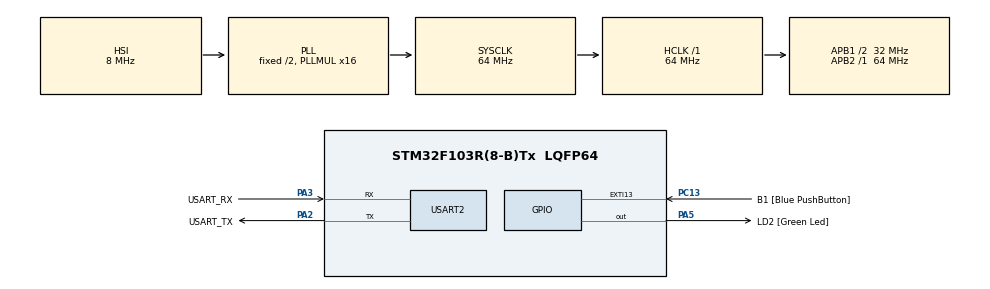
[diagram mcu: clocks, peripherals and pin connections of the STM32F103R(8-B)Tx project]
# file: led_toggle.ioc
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Mcu.Family=STM32F1
Mcu.Name=STM32F103R(8-B)Tx
Mcu.Package=LQFP64
NVIC.EXTI15_10_IRQn=true\:0\:0\:false\:false\:true\:true\:true\:true
NVIC.PriorityGroup=NVIC_PRIORITYGROUP_4
NVIC.USART2_IRQn=true\:0\:0\:false\:false\:true\:true\:true\:true
PA13.GPIO_Label=TMS
PA13.Mode=Serial_Wire
PA13.Signal=SYS_JTMS-SWDIO
PA14.GPIO_Label=TCK
PA14.Mode=Serial_Wire
PA14.Signal=SYS_JTCK-SWCLK
PA2.GPIO_Label=USART_TX
PA2.GPIO_Mode=GPIO_MODE_AF_PP
PA2.GPIO_PuPd=GPIO_NOPULL
PA2.GPIO_Speed=GPIO_SPEED_FREQ_LOW
PA2.Mode=Asynchronous
PA2.Signal=USART2_TX
PA3.GPIO_Label=USART_RX
PA3.GPIO_Mode=GPIO_MODE_AF_PP
PA3.GPIO_PuPd=GPIO_NOPULL
PA3.GPIO_Speed=GPIO_SPEED_FREQ_LOW
PA3.Mode=Asynchronous
PA3.Signal=USART2_RX
PA5.GPIO_Label=LD2 [Green Led]
PA5.GPIO_ModeDefaultOutputPP=GPIO_MODE_OUTPUT_PP
PA5.GPIO_PuPd=GPIO_NOPULL
PA5.GPIO_Speed=GPIO_SPEED_FREQ_LOW
PA5.Signal=GPIO_Output
PB3.GPIO_Label=SWO
PB3.Signal=SYS_JTDO-TRACESWO
PC13-TAMPER-RTC.GPIO_Label=B1 [Blue PushButton]
PC13-TAMPER-RTC.GPIO_PuPd=GPIO_NOPULL
PC13-TAMPER-RTC.Signal=GPXTI13
PC14-OSC32_IN.Mode=LSE-External-Oscillator
PC14-OSC32_IN.Signal=RCC_OSC32_IN
PC15-OSC32_OUT.Mode=LSE-External-Oscillator
PC15-OSC32_OUT.Signal=RCC_OSC32_OUT
PD0-OSC_IN.Mode=HSE-External-Clock-Source
PD0-OSC_IN.Signal=RCC_OSC_IN
PD1-OSC_OUT.Mode=HSE-External-Clock-Source
PD1-OSC_OUT.Signal=RCC_OSC_OUT
ProjectManager.HeapSize=0x200
ProjectManager.StackSize=0x400
ProjectManager.TargetToolchain=STM32CubeIDE
RCC.AHBFreq_Value=64000000
RCC.APB1CLKDivider=RCC_HCLK_DIV2
RCC.APB1Freq_Value=32000000
RCC.APB1TimFreq_Value=64000000
RCC.APB2Freq_Value=64000000
RCC.APB2TimFreq_Value=64000000
RCC.HCLKFreq_Value=64000000
RCC.PLLMUL=RCC_PLL_MUL16
RCC.RTCClockSelection=RCC_RTCCLKSOURCE_LSE
RCC.SYSCLKFreq_VALUE=64000000
RCC.SYSCLKSource=RCC_SYSCLKSOURCE_PLLCLK
RCC.USBFreq_Value=64000000
USART2.VirtualMode=VM_ASYNC
board=NUCLEO-F103RB

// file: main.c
/* USER CODE BEGIN Header */
/**
  ******************************************************************************
  * @file           : main.c
  * @brief          : Main program body
  ******************************************************************************
  * @attention
  *
  * Copyright (c) 2025 STMicroelectronics.
  * All rights reserved.
  *
  * This software is licensed under terms that can be found in the LICENSE file
  * in the root directory of this software component.
  * If no LICENSE file comes with this software, it is provided AS-IS.
  *
  ******************************************************************************
  */
/* USER CODE END Header */
#include "main.h"
#include<string.h>

UART_HandleTypeDef huart2;

/* USER CODE BEGIN PV */
uint8_t tx_buffer[30]="KALYANI KISHOR SONAWANE";
uint8_t rx_index;
uint8_t rx_data[6];
uint8_t rx_buffer[100];
uint8_t transfer_cplt = 1;

/* USER CODE END PV */

void SystemClock_Config(void);
static void MX_GPIO_Init(void);
static void MX_USART2_UART_Init(void);

int main(void)
{

  /* MCU Configuration--------------------------------------------------------*/

  /* Reset of all peripherals, Initializes the Flash interface and the Systick. */
  HAL_Init();

  /* Configure the system clock */
  SystemClock_Config();

  /* Initialize all configured peripherals */
  MX_GPIO_Init();
  MX_USART2_UART_Init();
  /* USER CODE BEGIN 2 */
  HAL_UART_Receive_IT(&huart2, rx_data, 1);

  /* USER CODE END 2 */

  /* Infinite loop */
  /* USER CODE BEGIN WHILE */

  while (1)
  {
  // HAL_UART_Transmit(&huart2,(uint8_t*)tx_buffer, sizeof(tx_buffer), 20);
  //  HAL_Delay(2000);

  /* USER CODE END 3 */
  }
}

void SystemClock_Config(void)
{
  RCC_OscInitTypeDef RCC_OscInitStruct = {0};
  RCC_ClkInitTypeDef RCC_ClkInitStruct = {0};

  /** Initializes the RCC Oscillators according to the specified parameters
  * in the RCC_OscInitTypeDef structure.
  */
  RCC_OscInitStruct.OscillatorType = RCC_OSCILLATORTYPE_HSI;
  RCC_OscInitStruct.HSIState = RCC_HSI_ON;
  RCC_OscInitStruct.HSICalibrationValue = RCC_HSICALIBRATION_DEFAULT;
  RCC_OscInitStruct.PLL.PLLState = RCC_PLL_ON;
  RCC_OscInitStruct.PLL.PLLSource = RCC_PLLSOURCE_HSI_DIV2;
  RCC_OscInitStruct.PLL.PLLMUL = RCC_PLL_MUL16;
  if (HAL_RCC_OscConfig(&RCC_OscInitStruct) != HAL_OK)
  {
    Error_Handler();
  }

  /** Initializes the CPU, AHB and APB buses clocks
  */
  RCC_ClkInitStruct.ClockType = RCC_CLOCKTYPE_HCLK|RCC_CLOCKTYPE_SYSCLK
                              |RCC_CLOCKTYPE_PCLK1|RCC_CLOCKTYPE_PCLK2;
  RCC_ClkInitStruct.SYSCLKSource = RCC_SYSCLKSOURCE_PLLCLK;
  RCC_ClkInitStruct.AHBCLKDivider = RCC_SYSCLK_DIV1;
  RCC_ClkInitStruct.APB1CLKDivider = RCC_HCLK_DIV2;
  RCC_ClkInitStruct.APB2CLKDivider = RCC_HCLK_DIV1;

  if (HAL_RCC_ClockConfig(&RCC_ClkInitStruct, FLASH_LATENCY_2) != HAL_OK)
  {
    Error_Handler();
  }
}

static void MX_USART2_UART_Init(void)
{

  huart2.Instance = USART2;
  huart2.Init.BaudRate = 115200;
  huart2.Init.WordLength = UART_WORDLENGTH_8B;
  huart2.Init.StopBits = UART_STOPBITS_1;
  huart2.Init.Parity = UART_PARITY_NONE;
  huart2.Init.Mode = UART_MODE_TX_RX;
  huart2.Init.HwFlowCtl = UART_HWCONTROL_NONE;
  huart2.Init.OverSampling = UART_OVERSAMPLING_16;
  if (HAL_UART_Init(&huart2) != HAL_OK)
  {
    Error_Handler();
  }

}

static void MX_GPIO_Init(void)
{
  GPIO_InitTypeDef GPIO_InitStruct = {0};

  /* GPIO Ports Clock Enable */
  __HAL_RCC_GPIOC_CLK_ENABLE();
  __HAL_RCC_GPIOD_CLK_ENABLE();
  __HAL_RCC_GPIOA_CLK_ENABLE();
  __HAL_RCC_GPIOB_CLK_ENABLE();

  /*Configure GPIO pin Output Level */
  HAL_GPIO_WritePin(LD2_GPIO_Port, LD2_Pin, GPIO_PIN_RESET);

  /*Configure GPIO pin : B1_Pin */
  GPIO_InitStruct.Pin = B1_Pin;
  GPIO_InitStruct.Mode = GPIO_MODE_IT_RISING;
  GPIO_InitStruct.Pull = GPIO_NOPULL;
  HAL_GPIO_Init(B1_GPIO_Port, &GPIO_InitStruct);

  /*Configure GPIO pin : LD2_Pin */
  GPIO_InitStruct.Pin = LD2_Pin;
  GPIO_InitStruct.Mode = GPIO_MODE_OUTPUT_PP;
  GPIO_InitStruct.Pull = GPIO_NOPULL;
  GPIO_InitStruct.Speed = GPIO_SPEED_FREQ_LOW;
  HAL_GPIO_Init(LD2_GPIO_Port, &GPIO_InitStruct);

  /* EXTI interrupt init*/
  HAL_NVIC_SetPriority(EXTI15_10_IRQn, 0, 0);
  HAL_NVIC_EnableIRQ(EXTI15_10_IRQn);

}

/* USER CODE BEGIN 4 */

void HAL_UART_RxCpltCallback(UART_HandleTypeDef *huart)
{
 /* Prevent unused argument(s) compilation warning */
 UNUSED(huart);
 /* NOTE: This function should not be modified, when the callback is needed,
          the HAL_UART_RxCpltCallback could be implemented in the user file
  */
 uint8_t i;
 if(huart-> Instance == USART2)
 {
 	 if(rx_index == 0){
 		 for(i=0; i<100; i++)
 			 rx_buffer[i]=0;
 		 	 	 HAL_GPIO_WritePin(GPIOA, GPIO_PIN_5, GPIO_PIN_RESET);
 	 }
 	 if(rx_data[0] != 13){           // 13 is the ASCII Code for carriage return(\r)
 		 rx_buffer[rx_index++] =rx_data[0];
 	 }
 	 else{
 		 rx_index = 0;
 		 transfer_cplt = 1;
 		 HAL_UART_Transmit(&huart2, (uint8_t*)"\n\r" ,2, 100);
 		 if(!strcmp((char*)rx_buffer,"LED ON"))
 		 {
 			 HAL_GPIO_WritePin(GPIOA, GPIO_PIN_5, GPIO_PIN_SET);
 		 }
 		 else if(!strcmp((char*)rx_buffer,"LED OFF"))
 		 {
 			 HAL_GPIO_WritePin(GPIOA, GPIO_PIN_5, GPIO_PIN_RESET);
 		 }
 	 }
 	 HAL_UART_Receive_IT(&huart2, rx_data,1);
 	HAL_UART_Transmit(&huart2, rx_data, 1, 10); }

}

/* USER CODE END 4 */

void Error_Handler(void)
{
  __disable_irq();
  while (1)
  {
  }
}
